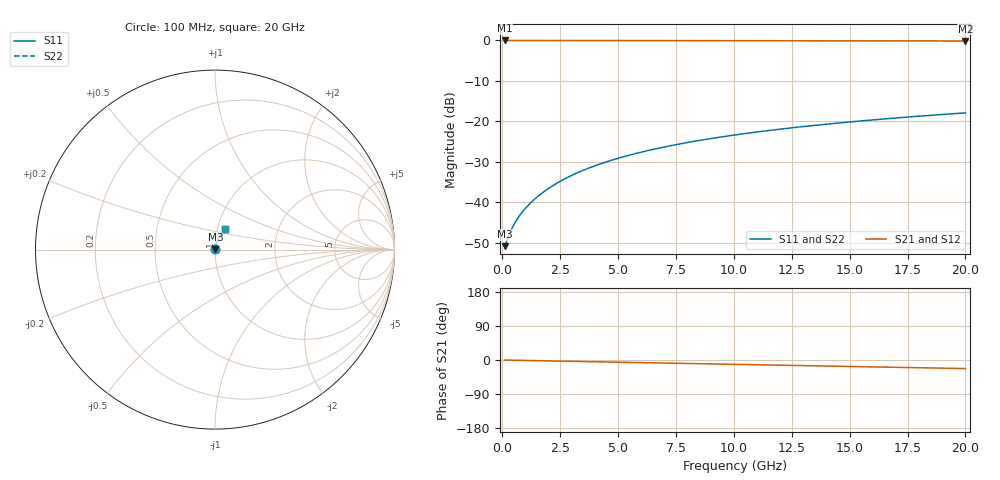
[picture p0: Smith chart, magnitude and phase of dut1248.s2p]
! Touchstone file exported from HFSS 2026.1.0
!  File:  C:/ffzhzh/LocalFiles/Ansys_Project_Files/temp_train_BSMRDL_1248_1783177271_18472.aedt
!  Generated:  11:02:21 PM Jul  4, 2026
!  Design:  BSMRDL
!  Project:  temp_train_BSMRDL_1248_1783177271_18472
! Variables:
!  h_bsmrdl = 2.75um
!  h_ox = 20um
!  h_rdl = 5um
!  h_sub = 80um
!  h_tmrdl = 5um
!  h_tsv = 80um
!  h_via = 3um
!  l_bsmrdl = 368.26um
!  l_sub = 768.26um
!  l_tmrdl = 200um
!  m_sub = 200um
!  pitch = 27.82um
!  r_tsv = 6um
!  s_tmrdl = 10um
!  w_bsmrdl = 19.37um
!  w_sub = 500um
!  w_tmrdl = 12um
!  x_tsv_center1 = 206um
!  x_tsv_center2 = 593.63um
!  x_tsv_center3 = 805.63um
!  x_tsv_center4 = 1193.26um
!  x_tsv_center5 = 1405.26um
!  x_tsv_center6 = 1792.89um
# GHz S MA R 50.000000
! Terminal data exported
! Port[1] = BSM_RDL1_1_T1
! Port[2] = BSM_RDL1_1_T2
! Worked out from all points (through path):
!   200 points, 100 MHz to 20 GHz, reference 50 ohm
!   highest |S21| = -0.02 dB at 100 MHz (marker M1); lowest = -0.2 dB at 20 GHz (marker M2)
!   group delay of S21, straight-line fit = 3.14 ps
!   lowest |S11| = -50.9 dB at 100 MHz (marker M3), VSWR 1.01, Z = 50.3 + j0.0927 ohm
!   |S11| at or under -10 dB: start of sweep to end of sweep
!   |S22| runs from -50.9 to -17.9 dB; largest |S21 - S12| = 2.7e-15
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0.1  0.002864 18.8  0.9973 -0.1  0.9973 -0.1  0.002864 18.8
! Gamma 0 0 0 0
! Port Impedance 50 0 50 0
0.4  0.004635 47.2  0.9969 -0.5  0.9969 -0.5  0.004635 47.2
0.5  0.005288 51.2  0.9967 -0.6  0.9967 -0.6  0.005288 51.2
0.6  0.005928 54.3  0.9966 -0.7  0.9966 -0.7  0.005927 54.3
0.7  0.006557 56.9  0.9965 -0.8  0.9965 -0.8  0.006556 56.9
0.9  0.0078 60.9  0.9963 -1.1  0.9963 -1.1  0.007799 60.9
1.2  0.009673 65.3  0.9961 -1.4  0.9961 -1.4  0.009672 65.3
1.4  0.01094 67.4  0.9961 -1.7  0.9961 -1.7  0.01094 67.4
1.7  0.01287 69.9  0.9959 -2.0  0.9959 -2.0  0.01287 69.9
2.2  0.01615 72.6  0.9958 -2.6  0.9958 -2.6  0.01615 72.6
2.8  0.02015 74.5  0.9956 -3.3  0.9956 -3.3  0.02015 74.5
3.5  0.02485 75.6  0.9953 -4.1  0.9953 -4.1  0.02485 75.6
4.2  0.02956 76.1  0.9949 -4.9  0.9949 -4.9  0.02955 76.1
5  0.03492 76.1  0.9945 -5.8  0.9945 -5.8  0.03492 76.2
5.9  0.04092 75.8  0.994 -6.8  0.994 -6.8  0.04091 75.9
6.8  0.04686 75.3  0.9933 -7.9  0.9933 -7.9  0.04686 75.4
8.3  0.05664 74.2  0.9922 -9.6  0.9922 -9.6  0.05663 74.2
10.1  0.06813 72.6  0.9908 -11.6  0.9908 -11.6  0.06812 72.6
11.7  0.07813 71.0  0.9894 -13.4  0.9894 -13.4  0.07812 71.1
13.4  0.08855 69.4  0.9879 -15.3  0.9879 -15.3  0.08853 69.4
16.7  0.1082 66.0  0.9848 -19.0  0.9848 -19.0  0.1081 66.1
20  0.127 62.7  0.9815 -22.6  0.9815 -22.6  0.127 62.8
